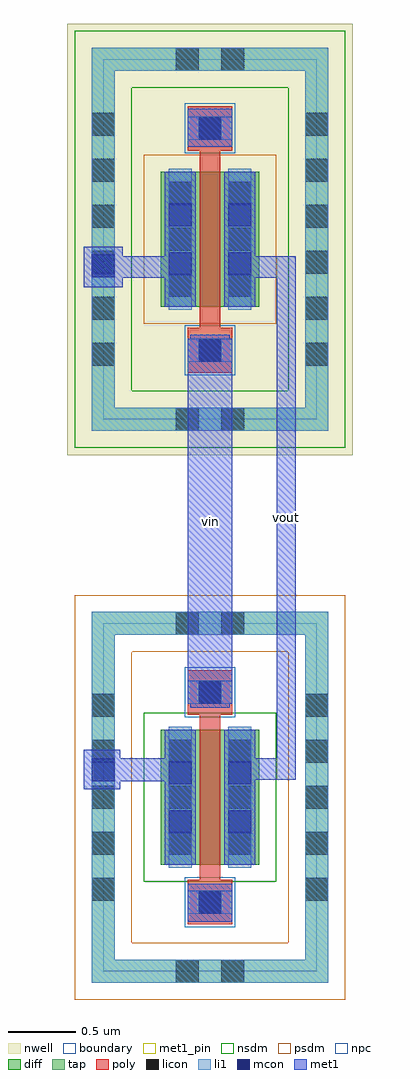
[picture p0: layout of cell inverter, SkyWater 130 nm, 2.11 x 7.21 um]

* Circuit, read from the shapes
.subckt inverter vin vout
XM1 vout vin sky130_fd_pr__nfet_01v8_LB55D5_1/B sky130_fd_pr__nfet_01v8_LB55D5_1/B sky130_fd_pr__nfet_01v8 w=1 l=0.15
XM2 vout vin sky130_fd_pr__pfet_01v8_YJL4GZ_0/B sky130_fd_pr__pfet_01v8_YJL4GZ_0/B sky130_fd_pr__pfet_01v8 w=1 l=0.15
.ends

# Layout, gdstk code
import gdstk
lib = gdstk.Library(unit=1e-6, precision=1e-09)
def R(c, l, rs):  # rectangles x0, y0, x1, y1
    for r in rs: c.add(gdstk.rectangle(r[:2], r[2:], *l))
def A(c, l, x, y, w, h, nx, ny, dx, dy):  # array of equal rectangles
    R(c, l, [(x+i*dx, y+j*dy, x+i*dx+w, y+j*dy+h) for i in range(nx) for j in range(ny)])
nwell = (64, 20)
diff = (65, 20)
tap = (65, 44)
poly = (66, 20)
licon = (66, 44)
li1 = (67, 20)
mcon = (67, 44)
met1_pin = (68, 16)
met1 = (68, 20)
nsdm = (93, 44)
psdm = (94, 20)
npc = (95, 20)
boundary = (235, 4)

sky130_fd_pr__pfet_01v8_ = lib.new_cell('sky130_fd_pr__pfet_01v8_YJL4GZ')
R(sky130_fd_pr__pfet_01v8_, nwell, [(-1.055,-1.595,1.055,1.595)])
R(sky130_fd_pr__pfet_01v8_, diff, [(-0.365,-0.5,0.365,0.5)])
R(sky130_fd_pr__pfet_01v8_, tap, [(-0.875,-1.415,0.875,-1.245), (-0.875,-1.245,-0.705,1.245), (0.705,-1.245,0.875,1.245), (-0.875,1.245,0.875,1.415)])
R(sky130_fd_pr__pfet_01v8_, poly, [(-0.165,-0.985,0.165,-0.655), (-0.075,-0.655,0.075,0.655), (-0.165,0.655,0.165,0.985)])
A(sky130_fd_pr__pfet_01v8_, licon, -0.875, -0.935, 0.17, 0.17, 1, 6, 0, 0.34)
A(sky130_fd_pr__pfet_01v8_, licon, 0.705, -0.935, 0.17, 0.17, 1, 6, 0, 0.34)
A(sky130_fd_pr__pfet_01v8_, licon, -0.305, -0.425, 0.17, 0.17, 1, 3, 0, 0.34)
A(sky130_fd_pr__pfet_01v8_, licon, 0.135, -0.425, 0.17, 0.17, 1, 3, 0, 0.34)
R(sky130_fd_pr__pfet_01v8_, licon, [(-0.255,-1.415,-0.085,-1.245), (0.085,-1.415,0.255,-1.245), (-0.085,-0.905,0.085,-0.735), (-0.085,0.735,0.085,0.905), (-0.255,1.245,-0.085,1.415), (0.085,1.245,0.255,1.415)])
R(sky130_fd_pr__pfet_01v8_, li1, [(-0.875,-1.415,0.875,-1.245), (-0.875,-1.245,-0.705,1.245), (0.705,-1.245,0.875,1.245), (-0.165,-0.905,0.165,-0.735), (-0.305,-0.52,-0.135,0.52), (0.135,-0.52,0.305,0.52), (-0.165,0.735,0.165,0.905), (-0.875,1.245,0.875,1.415)])
R(sky130_fd_pr__pfet_01v8_, mcon, [(-0.085,-0.905,0.085,-0.735), (-0.305,-0.265,-0.135,-0.095), (0.135,-0.265,0.305,-0.095), (-0.305,0.095,-0.135,0.265), (0.135,0.095,0.305,0.265), (-0.085,0.735,0.085,0.905)])
R(sky130_fd_pr__pfet_01v8_, met1, [(-0.145,-0.935,0.145,-0.705), (-0.335,-0.5,-0.105,0.5), (0.105,-0.5,0.335,0.5), (-0.145,0.705,0.145,0.935)])
R(sky130_fd_pr__pfet_01v8_, nsdm, [(-1,-1.54,1,-1.12), (-1,-1.12,-0.58,1.12), (0.58,-1.12,1,1.12), (-1,1.12,1,1.54)])
R(sky130_fd_pr__pfet_01v8_, psdm, [(-0.49,-0.625,0.49,0.625)])
R(sky130_fd_pr__pfet_01v8_, npc, [(-0.185,-1.005,0.185,-0.635), (-0.185,0.635,0.185,1.005)])
R(sky130_fd_pr__pfet_01v8_, boundary, [(-0.79,-1.33,0.79,1.33)])
sky130_fd_pr__pfet_01v8_.add(gdstk.Label('B', (0,-1.33), layer=67, texttype=5))
sky130_fd_pr__pfet_01v8_.add(gdstk.Label('D', (-0.22,0), layer=67, texttype=5))
sky130_fd_pr__pfet_01v8_.add(gdstk.Label('S', (0.22,0), layer=67, texttype=5))
sky130_fd_pr__pfet_01v8_.add(gdstk.Label('G', (0,0.82), layer=67, texttype=5))

sky130_fd_pr__nfet_01v8_ = lib.new_cell('sky130_fd_pr__nfet_01v8_LB55D5')
R(sky130_fd_pr__nfet_01v8_, diff, [(-0.365,-0.5,0.365,0.5)])
R(sky130_fd_pr__nfet_01v8_, tap, [(-0.875,-1.37,0.875,-1.2), (-0.875,-1.2,-0.705,1.2), (0.705,-1.2,0.875,1.2), (-0.875,1.2,0.875,1.37)])
R(sky130_fd_pr__nfet_01v8_, poly, [(-0.165,-0.94,0.165,-0.61), (-0.075,-0.61,0.075,0.61), (-0.165,0.61,0.165,0.94)])
A(sky130_fd_pr__nfet_01v8_, licon, -0.875, -0.765, 0.17, 0.17, 1, 5, 0, 0.34)
A(sky130_fd_pr__nfet_01v8_, licon, 0.705, -0.765, 0.17, 0.17, 1, 5, 0, 0.34)
A(sky130_fd_pr__nfet_01v8_, licon, -0.305, -0.425, 0.17, 0.17, 1, 3, 0, 0.34)
A(sky130_fd_pr__nfet_01v8_, licon, 0.135, -0.425, 0.17, 0.17, 1, 3, 0, 0.34)
R(sky130_fd_pr__nfet_01v8_, licon, [(-0.255,-1.37,-0.085,-1.2), (0.085,-1.37,0.255,-1.2), (-0.085,-0.86,0.085,-0.69), (-0.085,0.69,0.085,0.86), (-0.255,1.2,-0.085,1.37), (0.085,1.2,0.255,1.37)])
R(sky130_fd_pr__nfet_01v8_, li1, [(-0.875,-1.37,0.875,-1.2), (-0.875,-1.2,-0.705,1.2), (0.705,-1.2,0.875,1.2), (-0.165,-0.86,0.165,-0.69), (-0.305,-0.52,-0.135,0.52), (0.135,-0.52,0.305,0.52), (-0.165,0.69,0.165,0.86), (-0.875,1.2,0.875,1.37)])
R(sky130_fd_pr__nfet_01v8_, mcon, [(-0.085,-0.86,0.085,-0.69), (-0.305,-0.265,-0.135,-0.095), (0.135,-0.265,0.305,-0.095), (-0.305,0.095,-0.135,0.265), (0.135,0.095,0.305,0.265), (-0.085,0.69,0.085,0.86)])
R(sky130_fd_pr__nfet_01v8_, met1, [(-0.145,-0.89,0.145,-0.66), (-0.335,-0.5,-0.105,0.5), (0.105,-0.5,0.335,0.5), (-0.145,0.66,0.145,0.89)])
R(sky130_fd_pr__nfet_01v8_, nsdm, [(-0.49,-0.625,0.49,0.625)])
R(sky130_fd_pr__nfet_01v8_, psdm, [(-1,-1.495,1,-1.075), (-1,-1.075,-0.58,1.075), (0.58,-1.075,1,1.075), (-1,1.075,1,1.495)])
R(sky130_fd_pr__nfet_01v8_, npc, [(-0.185,-0.96,0.185,-0.59), (-0.185,0.59,0.185,0.96)])
R(sky130_fd_pr__nfet_01v8_, boundary, [(-0.79,-1.285,0.79,1.285)])
sky130_fd_pr__nfet_01v8_.add(gdstk.Label('B', (0,-1.285), layer=67, texttype=5))
sky130_fd_pr__nfet_01v8_.add(gdstk.Label('D', (-0.22,0), layer=67, texttype=5))
sky130_fd_pr__nfet_01v8_.add(gdstk.Label('S', (0.22,0), layer=67, texttype=5))
sky130_fd_pr__nfet_01v8_.add(gdstk.Label('G', (0,0.775), layer=67, texttype=5))

inverter = lib.new_cell('inverter')
R(inverter, li1, [(1.86,-2.92,2.03,-2.75), (1.86,0.8,2.03,0.98)])
R(inverter, mcon, [(1.86,-2.92,2.03,-2.75), (1.86,0.805,2.03,0.975)])
R(inverter, met1_pin, [(3.23,-2.91,3.37,0.96), (2.57,-2.35,2.9,0.35)])
R(inverter, met1, [(2.57,-3.96,2.9,-3.68), (1.8,-2.98,2.07,-2.92), (1.8,-2.92,2.6,-2.75), (2.87,-2.91,3.37,-2.75), (1.8,-2.75,2.07,-2.69), (3.23,-2.75,3.37,0.8), (2.57,-2.35,2.9,0.35), (1.8,0.73,2.09,0.8), (1.8,0.8,2.6,0.96), (2.87,0.8,3.37,0.96), (1.8,0.96,2.09,1.03), (2.57,1.77,2.9,2.05)])
inverter.add(gdstk.Reference(sky130_fd_pr__pfet_01v8_, (2.735,1.085)))
inverter.add(gdstk.Reference(sky130_fd_pr__nfet_01v8_, (2.735,-3.04)))
inverter.add(gdstk.Label('vin', (2.735,-1), layer=68, texttype=5))
inverter.add(gdstk.Label('vout', (3.3,-0.975), layer=68, texttype=5))

lib.write_gds('inverter.gds')
